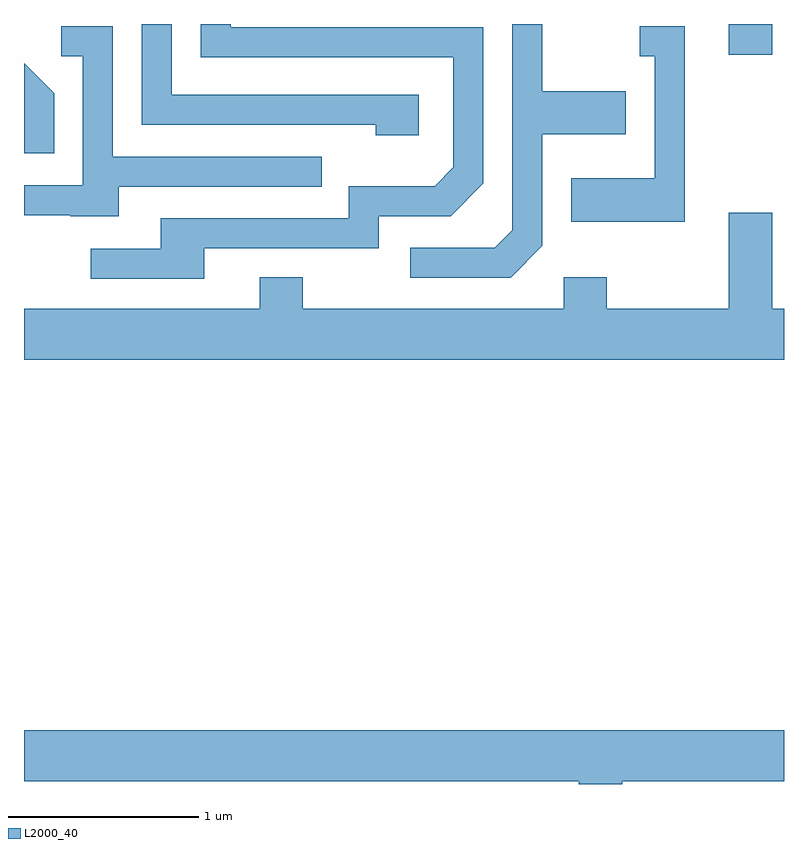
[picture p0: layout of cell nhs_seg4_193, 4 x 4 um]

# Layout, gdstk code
import gdstk
lib = gdstk.Library(unit=1e-6, precision=1e-09)
def R(c, l, rs):  # rectangles x0, y0, x1, y1
    for r in rs: c.add(gdstk.rectangle(r[:2], r[2:], *l))
def P(c, l, *ps):  # polygons
    for p in ps: c.add(gdstk.Polygon(p, *l))
L2000_40 = (2000, 40)

nhs_seg4_193 = lib.new_cell('nhs_seg4_193')
R(nhs_seg4_193, L2000_40, [(193.321,1371.821,193.549,1371.982)])
P(nhs_seg4_193, L2000_40, [(190.559,1370.801),(191.479,1370.801),(191.479,1370.971),(191.857,1370.971),(192.029,1371.144),(192.029,1371.964),(190.699,1371.964),(190.699,1371.982),(190.541,1371.982),(190.541,1371.806),(191.871,1371.806),(191.871,1371.227),(191.774,1371.129),(191.321,1371.129),(191.321,1370.959),(190.331,1370.959),(190.331,1370.799),(189.963,1370.799),(189.963,1370.641),(190.559,1370.641)],
  [(192.339,1370.814),(192.339,1371.401),(192.779,1371.401),(192.779,1371.629),(192.339,1371.629),(192.339,1371.982),(192.181,1371.982),(192.181,1370.897),(192.089,1370.804),(191.643,1370.804),(191.643,1370.646),(192.172,1370.646)],
  [(191.689,1371.609),(190.389,1371.609),(190.389,1371.982),(190.231,1371.982),(190.231,1371.451),(191.461,1371.451),(191.461,1371.396),(191.689,1371.396)],
  [(190.109,1371.126),(191.178,1371.126),(191.178,1371.284),(190.079,1371.284),(190.079,1371.969),(189.808,1371.969),(189.808,1371.811),(189.921,1371.811),(189.921,1371.134),(189.611,1371.134),(189.611,1370.976),(189.855,1370.976),(189.855,1370.971),(190.109,1370.971)],
  [(193.089,1371.969),(192.853,1371.969),(192.853,1371.811),(192.931,1371.811),(192.931,1371.169),(192.491,1371.169),(192.491,1370.941),(193.089,1370.941)],
  [(189.769,1371.617),(189.611,1371.775),(189.611,1371.303),(189.769,1371.303)],
  [(193.611,1370.484),(193.549,1370.484),(193.549,1370.989),(193.321,1370.989),(193.321,1370.484),(192.679,1370.484),(192.679,1370.649),(192.451,1370.649),(192.451,1370.484),(191.079,1370.484),(191.079,1370.649),(190.851,1370.649),(190.851,1370.484),(189.611,1370.484),(189.611,1370.216),(193.611,1370.216)],
  [(192.759,1367.996),(193.611,1367.996),(193.611,1368.264),(189.611,1368.264),(189.611,1367.996),(192.531,1367.996),(192.531,1367.982),(192.759,1367.982)])

lib.write_gds('nhs_seg4_193.gds')
